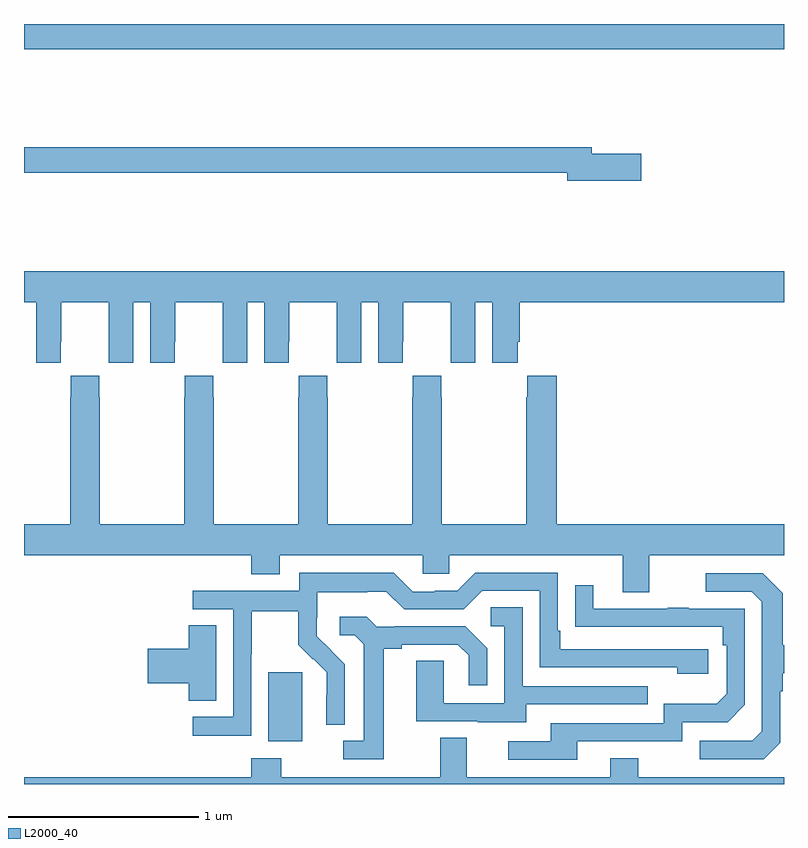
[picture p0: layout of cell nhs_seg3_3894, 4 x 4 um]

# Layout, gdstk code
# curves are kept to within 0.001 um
import gdstk
lib = gdstk.Library(unit=1e-6, precision=1e-09)
def R(c, l, rs):  # rectangles x0, y0, x1, y1
    for r in rs: c.add(gdstk.rectangle(r[:2], r[2:], *l))
def P(c, l, *ps):  # polygons
    for p in ps: c.add(gdstk.Polygon(p, *l))
L2000_40 = (2000, 40)

nhs_seg3_3894 = lib.new_cell('nhs_seg3_3894')
R(nhs_seg3_3894, L2000_40, [(314.285,678.626,314.464,678.987), (313,682.268,317,682.4)])
P(nhs_seg3_3894, L2000_40, [(316.249,681.716),(315.988,681.716),(315.988,681.752),(313,681.752),(313,681.616),(315.86,681.616),(315.86,681.574),(316.249,681.574)],
  [(313.194,680.728),(313.195,680.728),(313.195,680.936),(313.445,680.936),(313.445,680.728),(313.446,680.728),(313.446,680.616),(313.576,680.616),(313.576,680.936),(313.664,680.936),(313.664,680.616),(313.794,680.616),(313.794,680.728),(313.795,680.728),(313.795,680.936),(314.045,680.936),(314.045,680.728),(314.046,680.728),(314.046,680.616),(314.176,680.616),(314.176,680.936),(314.264,680.936),(314.264,680.616),(314.394,680.616),(314.394,680.728),(314.395,680.728),(314.395,680.936),(314.645,680.936),(314.645,680.728),(314.646,680.728),(314.646,680.616),(314.776,680.616),(314.776,680.936),(314.864,680.936),(314.864,680.616),(314.994,680.616),(314.994,680.728),(314.995,680.728),(314.995,680.936),(315.245,680.936),(315.245,680.728),(315.246,680.728),(315.246,680.616),(315.376,680.616),(315.376,680.936),(315.464,680.936),(315.464,680.616),(315.598,680.616),(315.598,680.728),(315.608,680.728),(315.608,680.936),(317,680.936),(317,681.1),(313,681.1),(313,680.936),(313.064,680.936),(313.064,680.616),(313.194,680.616)],
  [(316.291,679.604),(317,679.604),(317,679.768),(315.803,679.768),(315.803,680.548),(315.649,680.548),(315.649,680.435),(315.643,680.435),(315.643,679.768),(315.198,679.768),(315.198,680.435),(315.195,680.435),(315.195,680.548),(315.045,680.548),(315.045,680.435),(315.043,680.435),(315.043,679.768),(314.598,679.768),(314.598,680.435),(314.595,680.435),(314.595,680.548),(314.445,680.548),(314.445,680.435),(314.443,680.435),(314.443,679.768),(313.998,679.768),(313.998,680.435),(313.995,680.435),(313.995,680.548),(313.845,680.548),(313.845,680.435),(313.843,680.435),(313.843,679.768),(313.398,679.768),(313.398,680.435),(313.395,680.435),(313.395,680.548),(313.245,680.548),(313.245,680.435),(313.243,680.435),(313.243,679.768),(313,679.768),(313,679.604),(314.195,679.604),(314.195,679.505),(314.347,679.505),(314.347,679.604),(315.099,679.604),(315.099,679.506),(315.237,679.506),(315.237,679.604),(316.151,679.604),(316.151,679.41),(316.291,679.41)],
  [(314.196,679.084),(314.199,679.084),(314.199,679.308),(314.443,679.308),(314.443,679.133),(314.52,679.056),(314.523,679.059),(314.594,678.989),(314.594,678.866),(314.592,678.866),(314.592,678.712),(314.688,678.712),(314.688,679.03),(314.542,679.178),(314.542,679.275),(314.544,679.275),(314.544,679.409),(314.807,679.409),(314.807,679.413),(314.907,679.413),(315,679.32),(315.315,679.32),(315.411,679.416),(315.714,679.416),(315.714,679.014),(316.439,679.014),(316.439,678.98),(316.6,678.98),(316.6,679.11),(315.823,679.11),(315.823,679.207),(315.81,679.207),(315.81,679.512),(315.375,679.512),(315.279,679.416),(315.161,679.416),(315.161,679.413),(315.045,679.413),(314.945,679.513),(314.448,679.513),(314.448,679.416),(313.887,679.416),(313.887,679.32),(314.1,679.32),(314.1,678.753),(313.887,678.753),(313.887,678.655),(314.196,678.655)],
  [(316.98,678.618),(316.98,678.887),(316.993,678.887),(316.993,678.983),(317,678.983),(317,679.131),(316.993,679.131),(316.993,679.403),(316.887,679.509),(316.587,679.509),(316.587,679.413),(316.83,679.413),(316.884,679.359),(316.884,678.678),(316.833,678.627),(316.557,678.627),(316.557,678.531),(316.893,678.531)],
  [(315.913,678.624),(316.464,678.624),(316.464,678.726),(316.704,678.726),(316.794,678.816),(316.794,679.323),(316.499,679.323),(316.499,679.328),(316.387,679.328),(316.387,679.323),(315.997,679.323),(315.997,679.447),(315.901,679.447),(315.901,679.228),(316.678,679.227),(316.678,679.13),(316.698,679.13),(316.698,678.876),(316.645,678.823),(316.368,678.823),(316.368,678.72),(315.773,678.72),(315.773,678.624),(315.549,678.624),(315.549,678.528),(315.913,678.528)],
  [(315.643,678.819),(316.283,678.819),(316.283,678.915),(315.624,678.915),(315.624,679.331),(315.456,679.331),(315.456,679.23),(315.528,679.23),(315.528,678.825),(315.21,678.825),(315.21,679.049),(315.065,679.049),(315.065,678.729),(315.389,678.729),(315.389,678.725),(315.643,678.725)],
  [(314.893,679.112),(314.989,679.112),(314.989,679.134),(315.284,679.134),(315.341,679.077),(315.341,678.921),(315.438,678.921),(315.438,679.114),(315.322,679.23),(314.95,679.23),(314.95,679.227),(314.856,679.227),(314.804,679.279),(314.661,679.279),(314.661,679.182),(314.742,679.182),(314.789,679.135),(314.789,678.627),(314.679,678.627),(314.679,678.531),(314.893,678.531)],
  [(314.011,679.235),(313.868,679.235),(313.868,679.112),(313.65,679.112),(313.65,678.929),(313.868,678.929),(313.868,678.838),(314.011,678.838)],
  [(317,678.436),(316.233,678.436),(316.233,678.535),(316.085,678.535),(316.085,678.436),(315.331,678.436),(315.331,678.644),(315.191,678.644),(315.191,678.436),(314.355,678.436),(314.355,678.535),(314.195,678.535),(314.195,678.436),(313,678.436),(313,678.4),(317,678.4)])

lib.write_gds('nhs_seg3_3894.gds')
